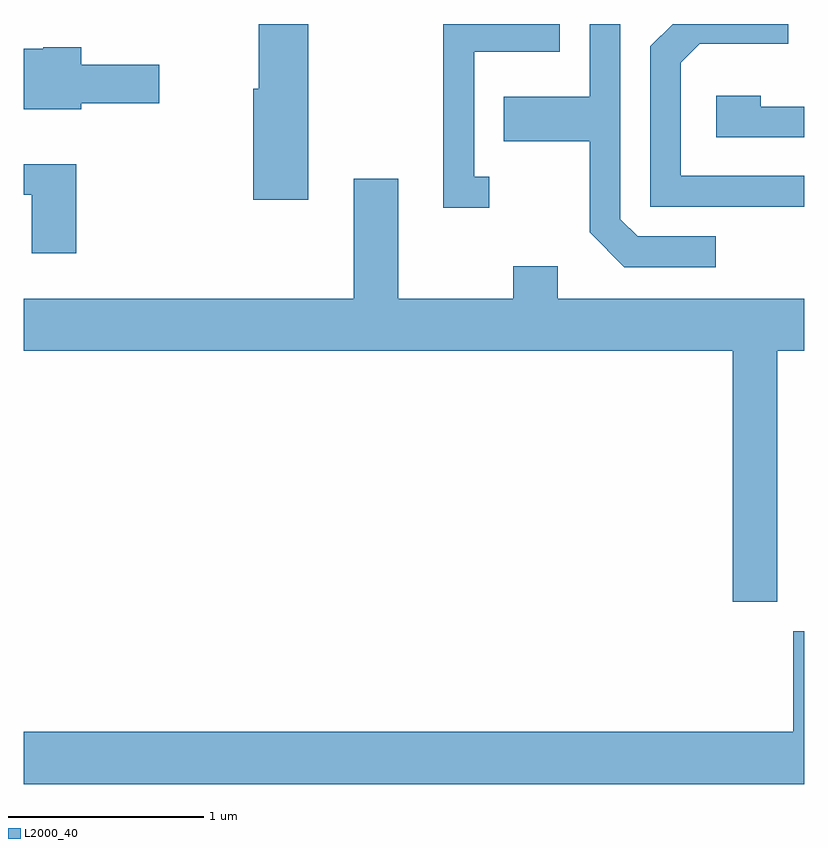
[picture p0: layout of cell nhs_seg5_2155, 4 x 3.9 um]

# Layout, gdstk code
import gdstk
lib = gdstk.Library(unit=1e-6, precision=1e-09)
def P(c, l, *ps):  # polygons
    for p in ps: c.add(gdstk.Polygon(p, *l))
L2000_40 = (2000, 40)

nhs_seg5_2155 = lib.new_cell('nhs_seg5_2155')
P(nhs_seg5_2155, L2000_40, [(253.611,1413.294),(252.979,1413.294),(252.979,1413.874),(253.077,1413.971),(253.529,1413.971),(253.529,1414.072),(252.937,1414.072),(252.821,1413.957),(252.821,1413.136),(253.611,1413.136)],
  [(251.998,1413.289),(251.919,1413.289),(251.919,1413.931),(252.359,1413.931),(252.359,1414.072),(251.761,1414.072),(251.761,1413.131),(251.998,1413.131)],
  [(253.158,1412.984),(252.757,1412.984),(252.669,1413.072),(252.669,1414.072),(252.511,1414.072),(252.511,1413.699),(252.071,1413.699),(252.071,1413.471),(252.511,1413.471),(252.511,1413.004),(252.689,1412.826),(253.158,1412.826)],
  [(251.069,1414.072),(250.816,1414.072),(250.816,1413.739),(250.786,1413.739),(250.786,1413.171),(251.069,1413.171)],
  [(249.904,1413.666),(250.304,1413.666),(250.304,1413.864),(249.904,1413.864),(249.904,1413.954),(249.71,1413.954),(249.71,1413.944),(249.611,1413.944),(249.611,1413.636),(249.904,1413.636)],
  [(253.611,1413.649),(253.389,1413.649),(253.389,1413.704),(253.161,1413.704),(253.161,1413.491),(253.611,1413.491)],
  [(249.879,1413.354),(249.611,1413.354),(249.611,1413.196),(249.651,1413.196),(249.651,1412.896),(249.879,1412.896)],
  [(253.474,1412.396),(253.611,1412.396),(253.611,1412.664),(252.349,1412.664),(252.349,1412.829),(252.121,1412.829),(252.121,1412.664),(251.529,1412.664),(251.529,1413.279),(251.301,1413.279),(251.301,1412.664),(249.611,1412.664),(249.611,1412.396),(253.246,1412.396),(253.246,1411.111),(253.474,1411.111)],
  [(253.611,1410.959),(253.556,1410.959),(253.556,1410.444),(249.611,1410.444),(249.611,1410.176),(253.611,1410.176)])

lib.write_gds('nhs_seg5_2155.gds')
